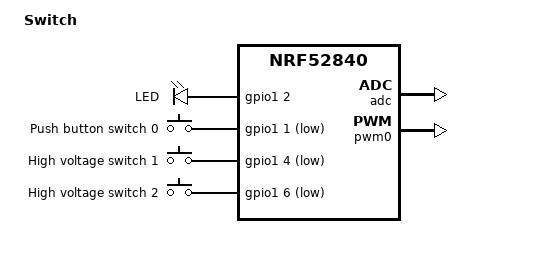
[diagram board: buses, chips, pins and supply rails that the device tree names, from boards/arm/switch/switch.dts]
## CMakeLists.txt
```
# Find Zephyr. This also loads Zephyr's build system.
cmake_minimum_required(VERSION 3.13.1)

set(CONF_FILE "prj.conf")
list(APPEND CONF_FILE "../config/openthread.conf")
list(APPEND CONF_FILE "../config/coap.conf")
list(APPEND CONF_FILE "../config/fota.conf")
list(APPEND CONF_FILE "../config/dfu.conf")

list(APPEND BOARD_ROOT ${CMAKE_CURRENT_SOURCE_DIR})
find_package(Zephyr REQUIRED HINTS $ENV{ZEPHYR_BASE})
project(switch)

# Add your source file to the "app" target. This must come after
# find_package(Zephyr) which defines the target.
target_sources(app PRIVATE src/coap.c)
#target_sources(app PRIVATE src/coap_req.c)
target_sources(app PRIVATE src/duart.c)
target_sources(app PRIVATE src/ds21.c)
target_sources(app PRIVATE src/led.c)
target_sources(app PRIVATE src/main.c)
target_sources(app PRIVATE src/prov.c)

# TODO: Replace with library target
target_include_directories(app PRIVATE ../lib)
target_sources(app PRIVATE ../lib/cbor_utils.c)
target_sources(app PRIVATE ../lib/coap_fota.c)
target_sources(app PRIVATE ../lib/coap_sd.c)
target_sources(app PRIVATE ../lib/coap_server.c)

if(COAPS_PSK)
    target_compile_definitions(app PRIVATE
        -DCOAPS_PSK=${COAPS_PSK}
        )
endif()
```

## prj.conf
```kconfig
CONFIG_NEWLIB_LIBC=y

CONFIG_MAIN_STACK_SIZE=2048
CONFIG_HEAP_MEM_POOL_SIZE=2048

CONFIG_GPIO_AS_PINRESET=n
CONFIG_NFCT_PINS_AS_GPIOS=y
CONFIG_FLASH=y

CONFIG_SERIAL=y

CONFIG_MCUBOOT_IMAGE_VERSION="0.1.2+0"

CONFIG_RESET_ON_FATAL_ERROR=n
#CONFIG_DEBUG_THREAD_INFO=y
#CONFIG_THREAD_MONITOR=y
```

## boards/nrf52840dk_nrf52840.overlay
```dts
/*
 * Copyright (c) 2022 Hubert Miś
 *
 * SPDX-License-Identifier: Apache-2.0
 */

/ {
	chosen {
		hubertmis,accnt-uart = &uart1;
	};
};
```

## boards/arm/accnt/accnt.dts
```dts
/*
 * Copyright (c) 2022 Hubert Miś
 *
 * SPDX-License-Identifier: Apache-2.0
 */

/dts-v1/;
#include <nordic/nrf52840_qiaa.dtsi>

/ {
	model = "Switch";
	compatible = "hubertmis,switch";

	chosen {
		hubertmis,accnt-uart = &uart0;
		zephyr,sram = &sram0;
		zephyr,flash = &flash0;
		zephyr,code-partition = &slot0_partition;
	};

    leds {
        compatible = "gpio-leds";
        led0: led_0 {
            gpios = <&gpio1 13 GPIO_ACTIVE_HIGH>;
            label = "Green LED";
        };
        led1: led_1 {
            gpios = <&gpio1 15 GPIO_ACTIVE_HIGH>;
            label = "Red LED";
        };
    };

    /*
    * In some default configurations within the nRF Connect SDK,
    * e.g. on nRF52840, the chosen zephyr,entropy node is &cryptocell.
    * This devicetree overlay ensures that default is overridden wherever it
    * is set, as this application uses the RNG node for entropy exclusively.
    */
    chosen {
        zephyr,entropy = &rng;
    };

    /* These aliases are provided for compatibility with samples */
};

&adc {
	status = "okay";
};

&gpiote {
	status = "okay";
};

&gpio0 {
	status = "okay";
};

&gpio1 {
	status = "okay";
};

&uart0 {
	compatible = "nordic,nrf-uarte";
	status = "okay";
	current-speed = <2400>;
	rx-pin = <41>;
	rx-pull-up;
	tx-pin = <7>;
};

&flash0 {

	partitions {
		compatible = "fixed-partitions";
		#address-cells = <1>;
		#size-cells = <1>;

		boot_partition: partition@0 {
			label = "mcuboot";
			reg = <0x000000000 0x0000C000>;
		};
		slot0_partition: partition@c000 {
			label = "image-0";
			reg = <0x0000C000 0x00067000>;
		};
		slot1_partition: partition@73000 {
			label = "image-1";
			reg = <0x00073000 0x00067000>;
		};
		scratch_partition: partition@da000 {
			label = "image-scratch";
			reg = <0x000da000 0x0001e000>;
		};

		/*
		 * The flash starting at 0x000f8000 and ending at
		 * 0x000fffff is reserved for use by the application.
		 */

		/*
		 * Storage partition will be used by FCB/LittleFS/NVS
		 * if enabled.
		 */
		storage_partition: partition@f8000 {
			label = "storage";
			reg = <0x000f8000 0x00008000>;
		};
	};
};
```

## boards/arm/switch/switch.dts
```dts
/*
 * Copyright (c) 2022 Hubert Miś
 *
 * SPDX-License-Identifier: Apache-2.0
 */

/dts-v1/;
#include <nordic/nrf52840_qiaa.dtsi>

/ {
	model = "Switch";
	compatible = "hubertmis,switch";

	chosen {
		zephyr,sram = &sram0;
		zephyr,flash = &flash0;
		zephyr,code-partition = &slot0_partition;
	};

    leds {
        compatible = "gpio-leds";
        led: led_0 {
            gpios = <&gpio1 2 GPIO_ACTIVE_HIGH>;
            label = "LED";
        };
    };

    buttons {
        compatible = "gpio-keys";
        button0: button_0 {
            gpios = <&gpio1 1 (GPIO_PULL_UP | GPIO_ACTIVE_LOW)>;
            label = "Push button switch 0";
        };
        sw1: button_1 {
            gpios = <&gpio1 4 (GPIO_ACTIVE_LOW)>;
            label = "High voltage switch 1";
        };
        sw2: button_2 {
            gpios = <&gpio1 6 (GPIO_ACTIVE_LOW)>;
            label = "High voltage switch 2";
        };
    };

    /*
    * In some default configurations within the nRF Connect SDK,
    * e.g. on nRF52840, the chosen zephyr,entropy node is &cryptocell.
    * This devicetree overlay ensures that default is overridden wherever it
    * is set, as this application uses the RNG node for entropy exclusively.
    */
    chosen {
        zephyr,entropy = &rng;
    };

    /* These aliases are provided for compatibility with samples */
/*
    aliases {
        red-pwm-led = &red_pwm_led;
        green-pwm-led = &green_pwm_led;
        blue-pwm-led = &blue_pwm_led;
        white-pwm-led = &white_pwm_led;
    };
*/
};

&adc {
	status = "okay";
};

&gpiote {
	status = "okay";
};

&gpio0 {
	status = "okay";
};

&gpio1 {
	status = "okay";
};

&pwm0 {
    status = "okay";
    ch0-pin = <18>;
    ch0-inverted;
    ch1-pin = <19>;
    ch1-inverted;
    ch2-pin = <21>;
    ch2-inverted;
    ch3-pin = <23>;
    ch3-inverted;
};

&flash0 {

	partitions {
		compatible = "fixed-partitions";
		#address-cells = <1>;
		#size-cells = <1>;

		boot_partition: partition@0 {
			label = "mcuboot";
			reg = <0x000000000 0x0000C000>;
		};
		slot0_partition: partition@c000 {
			label = "image-0";
			reg = <0x0000C000 0x00067000>;
		};
		slot1_partition: partition@73000 {
			label = "image-1";
			reg = <0x00073000 0x00067000>;
		};
		scratch_partition: partition@da000 {
			label = "image-scratch";
			reg = <0x000da000 0x0001e000>;
		};

		/*
		 * The flash starting at 0x000f8000 and ending at
		 * 0x000fffff is reserved for use by the application.
		 */

		/*
		 * Storage partition will be used by FCB/LittleFS/NVS
		 * if enabled.
		 */
		storage_partition: partition@f8000 {
			label = "storage";
			reg = <0x000f8000 0x00008000>;
		};
	};
};
```

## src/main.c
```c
/*
 * Copyright (c) 2022 Hubert Miś
 *
 * SPDX-License-Identifier: Apache-2.0
 */

#include <assert.h>

#include "ds21.h"
#include "coap.h"
#include "prov.h"

#include <dfu/mcuboot.h>
#include <net/fota_download.h>
#include <net/openthread.h>
#include <openthread/thread.h>
#include <power/reboot.h>
#include <settings/settings.h>

#define TX_POWER 8

// Fota
void fota_callback(const struct fota_download_evt *evt)
{
    if (evt->id == FOTA_DOWNLOAD_EVT_FINISHED) {
        sys_reboot(SYS_REBOOT_COLD);
    }
}

// Main
void main(void)
{
	prov_init();

	settings_subsys_init();
	settings_register(prov_get_settings_handler());
	settings_load();

	otError error;
	struct otInstance *ot_instance = openthread_get_default_instance();

	error = otPlatRadioSetTransmitPower(ot_instance, TX_POWER);
	assert(error == OT_ERROR_NONE);

	struct otIp6Address site_local_all_nodes_addr = {.mFields = {.m8 =
			{0xff, 0x05, 0x00, 0x00, 0x00, 0x00, 0x00, 0x00,
			 0x00, 0x00, 0x00, 0x00, 0x00, 0x00, 0x00, 0x01} }};

	error = otIp6SubscribeMulticastAddress(ot_instance, &site_local_all_nodes_addr);
	assert(error == OT_ERROR_NONE);

	fota_download_init(fota_callback);
	coap_init();

	boot_write_img_confirmed();

	ds21_init();
}
```

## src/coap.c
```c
/*
 * Copyright (c) 2022 Hubert Miś
 *
 * SPDX-License-Identifier: Apache-2.0
 */

#include "coap.h"

#include <cbor_utils.h>
#include <coap_fota.h>
#include <coap_sd.h>
#include <coap_server.h>
#include "ds21.h"
#include "duart.h"
#include "prov.h"

#include <net/socket.h>
#include <net/coap.h>
#include <tinycbor/cbor.h>
#include <tinycbor/cbor_buf_reader.h>
#include <tinycbor/cbor_buf_writer.h>

#define MAX_COAP_MSG_LEN 256
#define MAX_COAP_PAYLOAD_LEN 64

#define RSRC_KEY "r"

static int handle_prov_post(CborValue *value,
	       	enum coap_response_code *rsp_code, void *context)
{
    (void)context;

    int r;
    bool updated = false;

    char str[PROV_LBL_MAX_LEN];

    // Handle rsrc
    r = cbor_extract_from_map_string(value, RSRC_KEY, str, sizeof(str));
    if ((r >= 0) && (r < PROV_LBL_MAX_LEN)) {
        r = prov_set_rsrc_label(str);

        if (r == 0) {
            updated = true;
        }
    }

    if (updated) {
        *rsp_code = COAP_RESPONSE_CODE_CHANGED;
        prov_store();
    } else {
        *rsp_code = COAP_RESPONSE_CODE_BAD_REQUEST;
    }

    return r;
}

static int prov_post(struct coap_resource *resource,
        struct coap_packet *request,
        struct sockaddr *addr, socklen_t addr_len)
{
    int sock = *(int*)resource->user_data;

    return coap_server_handle_simple_setter(sock, resource, request, addr, addr_len,
		    handle_prov_post, NULL);
}

static int prepare_prov_payload(uint8_t *payload, size_t len)
{
    struct cbor_buf_writer writer;
    CborEncoder ce;
    CborEncoder map;
    const char *label;

    cbor_buf_writer_init(&writer, payload, len);
    cbor_encoder_init(&ce, &writer.enc, 0);

    if (cbor_encoder_create_map(&ce, &map, 1) != CborNoError) return -EINVAL;

    label = prov_get_rsrc_label();
    if (cbor_encode_text_string(&map, RSRC_KEY, strlen(RSRC_KEY)) != CborNoError) return -EINVAL;
    if (cbor_encode_text_string(&map, label, strlen(label)) != CborNoError) return -EINVAL;

    if (cbor_encoder_close_container(&ce, &map) != CborNoError) return -EINVAL;

    return (size_t)(writer.ptr - payload);
}

static int prov_get(struct coap_resource *resource,
        struct coap_packet *request,
        struct sockaddr *addr, socklen_t addr_len)
{
    int sock = *(int*)resource->user_data;
    int r = 0;
    uint8_t payload[MAX_COAP_PAYLOAD_LEN];
    size_t payload_len;

    r = prepare_prov_payload(payload, sizeof(payload));
    if (r < 0) {
        return r;
    }
    payload_len = r;

    return coap_server_handle_simple_getter(sock, resource, request, addr, addr_len,
                    payload, payload_len);
}

#define TAG_DECIMAL_FRACTION 4

#define RSP_EXP_KEY "ersp"
#define BIN_KEY "bin"
#define READY_KEY "r"
#define ONOFF_KEY "o"
#define MODE_KEY "m"
#define TEMP_KEY "t"
#define FAN_KEY "f"

#define MODE_DISABLED_VAL '0'
#define MODE_AUTO_VAL 'a'
#define MODE_DRY_VAL 'd'
#define MODE_COOL_VAL 'c'
#define MODE_HEAT_VAL 'h'
#define MODE_FAN_VAL 'f'

#define FAN_AUTO_VAL 'a'
#define FAN_1_VAL '1'
#define FAN_2_VAL '2'
#define FAN_3_VAL '3'
#define FAN_4_VAL '4'
#define FAN_5_VAL '5'

#define TEMP_INT_KEY "i"
#define TEMP_EXT_KEY "e"

static int prepare_default_payload(uint8_t *payload, size_t len)
{
    struct cbor_buf_writer writer;
    CborEncoder ce;
    CborEncoder map;
    struct ds21_basic_state state;
    int ret;
    char mode;
    char fan;

    ret = ds21_get_basic_state(&state);
    if (ret < 0) return ret;

    switch (state.mode) {
	    case DS21_MODE_DISABLED:
		    mode = MODE_DISABLED_VAL;
		    break;

	    case DS21_MODE_AUTO:
		    mode = MODE_AUTO_VAL;
		    break;

	    case DS21_MODE_DRY:
		    mode = MODE_DRY_VAL;
		    break;

	    case DS21_MODE_COOL:
		    mode = MODE_COOL_VAL;
		    break;

	    case DS21_MODE_HEAT:
		    mode = MODE_HEAT_VAL;
		    break;

	    case DS21_MODE_FAN:
		    mode = MODE_FAN_VAL;
		    break;

	    default:
		    return -EIO;
    }

    switch (state.fan) {
	    case DS21_FAN_AUTO:
		    fan = FAN_AUTO_VAL;
		    break;

	    case DS21_FAN_1:
		    fan = FAN_1_VAL;
		    break;

	    case DS21_FAN_2:
		    fan = FAN_2_VAL;
		    break;

	    case DS21_FAN_3:
		    fan = FAN_3_VAL;
		    break;

	    case DS21_FAN_4:
		    fan = FAN_4_VAL;
		    break;

	    case DS21_FAN_5:
		    fan = FAN_5_VAL;
		    break;

            default:
		    return -EIO;
    }

    cbor_buf_writer_init(&writer, payload, len);
    cbor_encoder_init(&ce, &writer.enc, 0);

    if (cbor_encoder_create_map(&ce, &map, 4) != CborNoError) return -EINVAL;

    if (cbor_encode_text_string(&map, ONOFF_KEY, strlen(ONOFF_KEY)) != CborNoError) return -EINVAL;
    if (cbor_encode_boolean(&map, state.enabled) != CborNoError) return -EINVAL;

    if (cbor_encode_text_string(&map, MODE_KEY, strlen(MODE_KEY)) != CborNoError) return -EINVAL;
    if (cbor_encode_int(&map, mode) != CborNoError) return -EINVAL;

    if (cbor_encode_text_string(&map, TEMP_KEY, strlen(TEMP_KEY)) != CborNoError) return -EINVAL;
    if (cbor_encode_dec_frac_num(&map, -1, state.target_temp) != CborNoError) return -EINVAL;

    if (cbor_encode_text_string(&map, FAN_KEY, strlen(FAN_KEY)) != CborNoError) return -EINVAL;
    if (cbor_encode_int(&map, fan) != CborNoError) return -EINVAL;

    if (cbor_encoder_close_container(&ce, &map) != CborNoError) return -EINVAL;

    return (size_t)(writer.ptr - payload);
}

static int prepare_bytestream_payload(uint8_t *payload, size_t len)
{
    struct cbor_buf_writer writer;
    CborEncoder ce;
    CborEncoder map;
    uint8_t rsp[DUART_MAX_FRAME_LEN];
    size_t rsp_len;
    int ret;

    ret = duart_rx(rsp);
    if (ret < 0) return ret;
    rsp_len = ret;

    cbor_buf_writer_init(&writer, payload, len);
    cbor_encoder_init(&ce, &writer.enc, 0);

    if (cbor_encoder_create_map(&ce, &map, 1) != CborNoError) return -EINVAL;

    if (cbor_encode_text_string(&map, BIN_KEY, strlen(BIN_KEY)) != CborNoError) return -EINVAL;
    if (cbor_encode_byte_string(&map, rsp, rsp_len) != CborNoError) return -EINVAL;

    if (cbor_encoder_close_container(&ce, &map) != CborNoError) return -EINVAL;

    return (size_t)(writer.ptr - payload);
}

static int prepare_bool_payload(uint8_t *payload, size_t len, char *key, size_t key_len, bool value)
{
    struct cbor_buf_writer writer;
    CborEncoder ce;
    CborEncoder map;

    cbor_buf_writer_init(&writer, payload, len);
    cbor_encoder_init(&ce, &writer.enc, 0);

    if (cbor_encoder_create_map(&ce, &map, 1) != CborNoError) return -EINVAL;

    if (cbor_encode_text_string(&map, key, key_len) != CborNoError) return -EINVAL;
    if (cbor_encode_boolean(&map, value) != CborNoError) return -EINVAL;

    if (cbor_encoder_close_container(&ce, &map) != CborNoError) return -EINVAL;

    return (size_t)(writer.ptr - payload);
}

// TODO: Refactor after creating generic getter capable of parsing payload
static int rsrc_get(struct coap_resource *resource,
             struct coap_packet *request,
             struct sockaddr *addr, socklen_t addr_len)
{
    int sock = *(int*)resource->user_data;
    uint16_t id;
    uint8_t code;
    uint8_t type;
    uint8_t tkl;
    uint8_t token[COAP_TOKEN_MAX_LEN];
    uint8_t *data;
    int r = 0;
    struct coap_packet response;
    uint8_t payload[MAX_COAP_PAYLOAD_LEN];
    int16_t payload_len = 0;
    const uint8_t *req_payload;
    uint16_t req_payload_len;
    enum coap_response_code rsp_code = COAP_RESPONSE_CODE_INTERNAL_ERROR;

    code = coap_header_get_code(request);
    type = coap_header_get_type(request);
    id = coap_header_get_id(request);
    tkl = coap_header_get_token(request, token);

    if (type != COAP_TYPE_CON) {
        return -EINVAL;
    }

#if BLOCK_GLOBAL_ACCESS
    if (!addr_is_local(addr, addr_len) && !sock_is_secure(sock)) {
        // TODO: Send ACK Forbidden?
        return -EINVAL;
    }
#endif

    req_payload = coap_packet_get_payload(request, &req_payload_len);
    if (req_payload) {
	    struct coap_option option;
	    r = coap_find_options(request, COAP_OPTION_CONTENT_FORMAT, &option, 1); 
	    if (r != 1) {
		coap_server_send_ack(sock, addr, addr_len, id, COAP_RESPONSE_CODE_BAD_REQUEST, token, tkl);
		return -EINVAL;
	    }

	    if (coap_option_value_to_int(&option) != COAP_CONTENT_FORMAT_APP_CBOR) {
		coap_server_send_ack(sock, addr, addr_len, id, COAP_RESPONSE_CODE_UNSUPPORTED_CONTENT_FORMAT, token, tkl);
		return -EINVAL;
	    }

	    CborError cbor_error;
	    CborParser parser;
	    CborValue value;
	    struct cbor_buf_reader reader;
	    uint8_t req[DUART_MAX_FRAME_LEN];
	    size_t req_len = sizeof(req);

	    cbor_buf_reader_init(&reader, req_payload, req_payload_len);

	    cbor_error = cbor_parser_init(&reader.r, 0, &parser, &value);
	    if (cbor_error != CborNoError) {
		coap_server_send_ack(sock, addr, addr_len, id, COAP_RESPONSE_CODE_BAD_REQUEST, token, tkl);
		return -EINVAL;
	    }

	    if (!cbor_value_is_map(&value)) {
		coap_server_send_ack(sock, addr, addr_len, id, COAP_RESPONSE_CODE_BAD_REQUEST, token, tkl);
		return -EINVAL;
	    }

	    CborValue map_val;

	    // Handle binary command
	    cbor_error = cbor_value_map_find_value(&value, BIN_KEY, &map_val);
	    if ((cbor_error == CborNoError) && cbor_value_is_byte_string(&map_val)) {
		cbor_error = cbor_value_copy_byte_string(&map_val, req, &req_len, NULL);
		if (cbor_error == CborNoError) {
		    r = duart_tx(req, req_len);
		    if (r < 0) {
			coap_server_send_ack(sock, addr, addr_len, id, COAP_RESPONSE_CODE_INTERNAL_ERROR, token, tkl);
			return -EINVAL;
		    }

		    r = prepare_bytestream_payload(payload, sizeof(payload));
		    if (r < 0) {
			coap_server_send_ack(sock, addr, addr_len, id, COAP_RESPONSE_CODE_INTERNAL_ERROR, token, tkl);
			return -EINVAL;
		    }

		    payload_len = r;
		}
	    }

	    // Handle readiness checker
	    if (!payload_len) {
	        cbor_error = cbor_value_map_find_value(&value, READY_KEY, &map_val);
	        if ((cbor_error == CborNoError) && cbor_value_is_boolean(&map_val)) {
		    bool result = false;
	            cbor_error = cbor_value_get_boolean(&map_val, &result);
	            if ((cbor_error == CborNoError) && result) {
			result = ds21_is_ready();

	                r = prepare_bool_payload(payload, sizeof(payload), READY_KEY, sizeof(READY_KEY), result);
	                if (r < 0) {
	                    coap_server_send_ack(sock, addr, addr_len, id, COAP_RESPONSE_CODE_INTERNAL_ERROR, token, tkl);
	                    return -EINVAL;
	                }

	                payload_len = r;
	            }
	        }
            }
    } else {
	    payload_len = prepare_default_payload(payload, sizeof(payload));
    }

    data = (uint8_t *)k_malloc(MAX_COAP_MSG_LEN);
    if (!data) {
        return -ENOMEM;
    }

    if (payload_len >= 0) {
	    rsp_code = COAP_RESPONSE_CODE_CONTENT;
    }

    r = coap_packet_init(&response, data, MAX_COAP_MSG_LEN,
                 1, COAP_TYPE_ACK, tkl, token,
                 rsp_code, id);
    if (r < 0) {
        goto end;
    }

    if (payload_len > 0) {
	    r = coap_append_option_int(&response, COAP_OPTION_CONTENT_FORMAT,
		    COAP_CONTENT_FORMAT_APP_CBOR);
	    if (r < 0) {
		goto end;
	    }

	    r = coap_packet_append_payload_marker(&response);
	    if (r < 0) {
		goto end;
	    }

	    r = coap_packet_append_payload(&response, payload, payload_len);
	    if (r < 0) {
		goto end;
	    }
    }

    r = coap_server_send_coap_reply(sock, &response, addr, addr_len);

end:
    k_free(data);

    return r;
}

// TODO: refactor after providing generic setter which can respond with ACK including payload
static int rsrc_post(struct coap_resource *resource,
        struct coap_packet *request,
        struct sockaddr *addr, socklen_t addr_len)
{
    int sock = *(int*)resource->user_data;
    uint16_t id;
    uint8_t code;
    uint8_t type;
    uint8_t tkl;
    uint8_t token[COAP_TOKEN_MAX_LEN];
    int ret = 0;
    struct coap_option option;
    const uint8_t *payload;
    uint16_t payload_len;
    enum coap_response_code rsp_code = COAP_RESPONSE_CODE_BAD_REQUEST;

    code = coap_header_get_code(request);
    type = coap_header_get_type(request);
    id = coap_header_get_id(request);
    tkl = coap_header_get_token(request, token);

    if (type != COAP_TYPE_CON) {
        return -EINVAL;
    }

#if BLOCK_GLOBAL_ACCESS
    if (!addr_is_local(addr, addr_len) && !sock_is_secure(sock)) {
        // TODO: Send ACK Forbidden?
        return -EINVAL;
    }
#endif

    ret = coap_find_options(request, COAP_OPTION_CONTENT_FORMAT, &option, 1); 
    if (ret != 1) {
        coap_server_send_ack(sock, addr, addr_len, id, COAP_RESPONSE_CODE_BAD_REQUEST, token, tkl);
        return -EINVAL;
    }

    if (coap_option_value_to_int(&option) != COAP_CONTENT_FORMAT_APP_CBOR) {
        coap_server_send_ack(sock, addr, addr_len, id, COAP_RESPONSE_CODE_UNSUPPORTED_CONTENT_FORMAT, token, tkl);
        return -EINVAL;
    }

    payload = coap_packet_get_payload(request, &payload_len);
    if (!payload) {
        coap_server_send_ack(sock, addr, addr_len, id, COAP_RESPONSE_CODE_BAD_REQUEST, token, tkl);
        return -EINVAL;
    }

    CborError cbor_error;
    CborParser parser;
    CborValue value;
    struct cbor_buf_reader reader;
    uint8_t req[DUART_MAX_FRAME_LEN];
    size_t req_len = sizeof(req);
    bool expect_rsp = false;
    uint8_t rsp_payload[MAX_COAP_PAYLOAD_LEN];
    size_t rsp_payload_len;

    cbor_buf_reader_init(&reader, payload, payload_len);

    cbor_error = cbor_parser_init(&reader.r, 0, &parser, &value);
    if (cbor_error != CborNoError) {
        coap_server_send_ack(sock, addr, addr_len, id, COAP_RESPONSE_CODE_BAD_REQUEST, token, tkl);
        return -EINVAL;
    }

    if (!cbor_value_is_map(&value)) {
        coap_server_send_ack(sock, addr, addr_len, id, COAP_RESPONSE_CODE_BAD_REQUEST, token, tkl);
        return -EINVAL;
    }

    CborValue map_val;

    // Handle response expectation
    cbor_error = cbor_value_map_find_value(&value, RSP_EXP_KEY, &map_val);
    if ((cbor_error == CborNoError) && cbor_value_is_boolean(&map_val)) {
        cbor_value_get_boolean(&map_val, &expect_rsp);
    }

    // Handle binary command
    cbor_error = cbor_value_map_find_value(&value, BIN_KEY, &map_val);
    if ((cbor_error == CborNoError) && cbor_value_is_valid(&map_val)) {
        if (cbor_value_is_byte_string(&map_val)) {
            cbor_error = cbor_value_copy_byte_string(&map_val, req, &req_len, NULL);
	    if (cbor_error == CborNoError) {
	        ret = duart_tx(req, req_len);
	        if (ret < 0) {
                    rsp_code = COAP_RESPONSE_CODE_INTERNAL_ERROR;
                    goto end;
	        }

                rsp_code = COAP_RESPONSE_CODE_CHANGED;;

	        if (expect_rsp) {
                    ret = prepare_bytestream_payload(rsp_payload, sizeof(rsp_payload));
	            if (ret < 0) {
                        expect_rsp = false;
                        rsp_code = COAP_RESPONSE_CODE_INTERNAL_ERROR;
                        goto end;
	            }

                    rsp_payload_len = ret;
                    rsp_code = COAP_RESPONSE_CODE_CHANGED;
                    return coap_server_send_ack_with_payload(sock, addr, addr_len, id, rsp_code, token, tkl, rsp_payload, rsp_payload_len);
                }
	    }
        }

	goto end;
    }

    // Handle basic state
    struct ds21_basic_state state;
    bool ds21_basic_state_updated = false;

    // On/off
    cbor_error = cbor_value_map_find_value(&value, ONOFF_KEY, &map_val);
    if ((cbor_error == CborNoError) && cbor_value_is_boolean(&map_val)) {
        if (!ds21_basic_state_updated) {
            ret = ds21_get_basic_state(&state);
            if (ret < 0) {
                rsp_code = COAP_RESPONSE_CODE_INTERNAL_ERROR;
                goto end;
            }
        }

        cbor_error = cbor_value_get_boolean(&map_val, &state.enabled);
        if (cbor_error == CborNoError) {
            ds21_basic_state_updated = true;
        } else {
            rsp_code = COAP_RESPONSE_CODE_BAD_REQUEST;
	    goto end;
	}
    }

    // Mode
    cbor_error = cbor_value_map_find_value(&value, MODE_KEY, &map_val);
    if ((cbor_error == CborNoError) && cbor_value_is_unsigned_integer(&map_val)) {
        uint64_t val;
        if (!ds21_basic_state_updated) {
            ret = ds21_get_basic_state(&state);
            if (ret < 0) {
                rsp_code = COAP_RESPONSE_CODE_INTERNAL_ERROR;
                goto end;
            }
        }

        cbor_error = cbor_value_get_uint64(&map_val, &val);
        if (cbor_error == CborNoError) {
            switch (val) {
                case MODE_DISABLED_VAL:
                    state.mode= DS21_MODE_DISABLED;
                    break;

                case MODE_AUTO_VAL:
                    state.mode = DS21_MODE_AUTO;
                    break;

                case MODE_DRY_VAL:
                    state.mode = DS21_MODE_DRY;
                    break;

                case MODE_COOL_VAL:
                    state.mode = DS21_MODE_COOL;
                    break;

                case MODE_HEAT_VAL:
                    state.mode = DS21_MODE_HEAT;
                    break;

                case MODE_FAN_VAL:
                    state.mode = DS21_MODE_FAN;
                    break;

                default:
                    rsp_code = COAP_RESPONSE_CODE_BAD_REQUEST;
                    goto end;
            }

            ds21_basic_state_updated = true;
        }
    }

    // Target temperature
    cbor_error = cbor_value_map_find_value(&value, TEMP_KEY, &map_val);
    if ((cbor_error == CborNoError) && cbor_value_is_valid(&map_val)) {
        int int_val;
        if (!ds21_basic_state_updated) {
            ret = ds21_get_basic_state(&state);
            if (ret < 0) {
                rsp_code = COAP_RESPONSE_CODE_INTERNAL_ERROR;
                goto end;
            }
        }

	ret = cbor_decode_dec_frac_num(&map_val, -1, &int_val);
        if (ret < 0) {
            rsp_code = COAP_RESPONSE_CODE_BAD_REQUEST;
            goto end;
        }

	state.target_temp = int_val;

        ds21_basic_state_updated = true;
    }

    // Fan
    cbor_error = cbor_value_map_find_value(&value, FAN_KEY, &map_val);
    if ((cbor_error == CborNoError) && cbor_value_is_unsigned_integer(&map_val)) {
        uint64_t val;
        if (!ds21_basic_state_updated) {
            ret = ds21_get_basic_state(&state);
            if (ret < 0) {
                rsp_code = COAP_RESPONSE_CODE_INTERNAL_ERROR;
                goto end;
            }
        }

        cbor_error = cbor_value_get_uint64(&map_val, &val);
        if (cbor_error == CborNoError) {
            switch (val) {
                case FAN_AUTO_VAL:
                    state.fan = DS21_FAN_AUTO;
                    break;

                case FAN_1_VAL:
                    state.fan = DS21_FAN_1;
                    break;

                case FAN_2_VAL:
                    state.fan = DS21_FAN_2;
                    break;

                case FAN_3_VAL:
                    state.fan = DS21_FAN_3;
                    break;

                case FAN_4_VAL:
                    state.fan = DS21_FAN_4;
                    break;

                case FAN_5_VAL:
                    state.fan = DS21_FAN_5;
                    break;

                default:
                    rsp_code = COAP_RESPONSE_CODE_BAD_REQUEST;
                    goto end;
            }

            ds21_basic_state_updated = true;
        }
    }

    if (ds21_basic_state_updated) {
        ret = ds21_set_basic_state(&state);
        rsp_code = (ret < 0) ? COAP_RESPONSE_CODE_INTERNAL_ERROR : COAP_RESPONSE_CODE_CHANGED;
    }

end:
    ret = coap_server_send_ack(sock, addr, addr_len, id, rsp_code, token, tkl);
    return ret;
}

static int prepare_temp_payload(uint8_t *payload, size_t len)
{
    struct cbor_buf_writer writer;
    CborEncoder ce;
    CborEncoder map;
    struct ds21_temperature temp;
    int ret;

    ret = ds21_get_temperature(&temp);
    if (ret < 0) return ret;

    cbor_buf_writer_init(&writer, payload, len);
    cbor_encoder_init(&ce, &writer.enc, 0);

    if (cbor_encoder_create_map(&ce, &map, 2) != CborNoError) return -EINVAL;

    if (cbor_encode_text_string(&map, TEMP_INT_KEY, strlen(TEMP_INT_KEY)) != CborNoError) return -EINVAL;
    if (cbor_encode_dec_frac_num(&map, -1, temp.internal) != CborNoError) return -EINVAL;

    if (cbor_encode_text_string(&map, TEMP_EXT_KEY, strlen(TEMP_EXT_KEY)) != CborNoError) return -EINVAL;
    if (cbor_encode_dec_frac_num(&map, -1, temp.external) != CborNoError) return -EINVAL;

    if (cbor_encoder_close_container(&ce, &map) != CborNoError) return -EINVAL;

    return (size_t)(writer.ptr - payload);
}

static int temp_get(struct coap_resource *resource,
             struct coap_packet *request,
             struct sockaddr *addr, socklen_t addr_len)
{
    int sock = *(int*)resource->user_data;
    int r = 0;
    uint8_t payload[MAX_COAP_PAYLOAD_LEN];
    int16_t payload_len = 0;

    r = prepare_temp_payload(payload, sizeof(payload));
    if (r < 0) {
        return r;
    }
    payload_len = r;

    return coap_server_handle_simple_getter(sock, resource, request, addr, addr_len, payload, payload_len);
}

#define TEMP_PATH "temp"

static struct coap_resource * rsrcs_get(int sock)
{
    static const char * const fota_path [] = {"fota_req", NULL};
    static const char * const sd_path [] = {"sd", NULL};
    static const char * const prov_path[] = {"prov", NULL};
    static const char * rsrc_path[] = {NULL, NULL};
    static const char * rsrc_temp_path[] = {NULL, TEMP_PATH, NULL};

    static struct coap_resource resources[] = {
        { .get = coap_fota_get,
          .post = coap_fota_post,
          .path = fota_path,
        },
        { .get = coap_sd_server,
          .path = sd_path,
        },
	{ .get = prov_get,
	  .post = prov_post,
	  .path = prov_path,
	},
	{ .get = rsrc_get,
	  .post = rsrc_post,
          .path = rsrc_path,
	},
	{ .get = temp_get,
	  .path = rsrc_temp_path,
	},
        { .path = NULL } // Array terminator
    };

    rsrc_path[0] = prov_get_rsrc_label();
    rsrc_temp_path[0] = rsrc_path[0];

    if (!rsrc_path[0] || !strlen(rsrc_path[0])) {
	    resources[3].path = NULL;
	    resources[4].path = NULL;
    } else {
	    resources[3].path = rsrc_path;
	    resources[4].path = rsrc_temp_path;
    }

    // TODO: Replace it with something better
    static int user_data;
   
    user_data = sock;

    for (int i = 0; i < ARRAY_SIZE(resources); ++i) {
        resources[i].user_data = &user_data;
    }

    return resources;
}

void coap_init(void)
{
    coap_server_init(rsrcs_get);
}
```

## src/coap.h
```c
/*
 * Copyright (c) 2022 Hubert Miś
 *
 * SPDX-License-Identifier: Apache-2.0
 */

/**
 * @file
 * @brief CoAP Server
 */
    
#ifndef COAP_H_
#define COAP_H_

#ifdef __cplusplus
extern "C" {
#endif

void coap_init(void);

#ifdef __cplusplus
}   
#endif

#endif // COAP_H_
```

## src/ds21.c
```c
/*
 * Copyright (c) 2022 Hubert Miś
 *
 * SPDX-License-Identifier: Apache-2.0
 */

#include "ds21.h"

#include <errno.h>
#include "duart.h"
#include "led.h"

#define GETTER_REQ_FRAME_LEN 2
#define INIT_FRAME_LEN 3
#define BASIC_STATE_FRAME_LEN 6
#define TEMPERATURE_FRAME_LEN 6

static bool ready;

static uint8_t dc_to_f(int16_t dc)
{
	return (dc + 3) / 5 + 28;
}

static int16_t f_to_dc(uint8_t f)
{
	return ((int16_t)f - 28) * 5;
}

void ds21_init(void)
{
	int ret;

	duart_init();

	do {
		const unsigned char cmd[INIT_FRAME_LEN] = {'D', '2', '0'};
		ret = duart_tx(cmd, sizeof(cmd));
		if (ret < 0) led_failure();
	} while (ret < 0);

	led_success();
	ready = true;
}

bool ds21_is_ready(void)
{
	return ready;
}

int ds21_get_basic_state(struct ds21_basic_state *state)
{
	unsigned char req[GETTER_REQ_FRAME_LEN] = {'F', '1'};
	unsigned char rsp[DUART_MAX_FRAME_LEN];
	int ret = 0;

	if (!ready) {
		ret = -ENODEV;
		goto fail;
	}

	ret = duart_tx(req, sizeof(req));
	if (ret < 0) goto fail;

	ret = duart_rx(rsp);
	if (ret < 0) goto fail;

	if (ret != BASIC_STATE_FRAME_LEN) {
		ret = -EIO;
		goto fail;
	}
	ret = -EIO;
	if (rsp[0] != 'G') goto fail;
	if (rsp[1] != '1') goto fail;

	switch (rsp[2]) {
		case '0':
			state->enabled = false;
			break;

		case '1':
			state->enabled = true;
			break;

		default:
			goto fail;
	}

	state->mode = rsp[3];
	state->target_temp = f_to_dc(rsp[4]);
	state->fan = rsp[5];

	led_success();
	return 0;

fail:
	led_failure();
	return ret;
}

int ds21_set_basic_state(const struct ds21_basic_state *state)
{
	unsigned char frame[BASIC_STATE_FRAME_LEN] = {'D', '1'};
	int ret = -ENODEV;

	if (!ready) goto fail;

	frame[2] = state->enabled ? '1' : '0';
	frame[3] = state->mode;
	frame[4] = dc_to_f(state->target_temp);
	frame[5] = state->fan;

	ret = duart_tx(frame, sizeof(frame));
	if (ret < 0) goto fail;

	led_success();
	return ret;

fail:
	led_failure();
	return ret;
}

static int parse_temperature(int16_t *result, const unsigned char req[GETTER_REQ_FRAME_LEN], const unsigned char rsp[DUART_MAX_FRAME_LEN])
{
	int16_t value = 0;

	if (rsp[0] != req[0] + 1) return -EIO;
	if (rsp[1] != req[1]) return -EIO;

	if (rsp[2] < '0' || rsp[2] > '9') return -EIO;
	if (rsp[3] < '0' || rsp[3] > '9') return -EIO;
	if (rsp[4] < '0' || rsp[4] > '9') return -EIO;

	value = rsp[2] - '0';
	value += (rsp[3] - '0') * 10;
	value += (rsp[4] - '0') * 100;

	if (rsp[5] == '-') value *= -1;

	*result = value;
	return 0;
}

int ds21_get_temperature(struct ds21_temperature *temp)
{
	unsigned char req_int[GETTER_REQ_FRAME_LEN] = {'R', 'H'};
	unsigned char req_ext[GETTER_REQ_FRAME_LEN] = {'R', 'a'};
	unsigned char rsp[DUART_MAX_FRAME_LEN];
	int ret = 0;

	if (!ready) {
		ret = -ENODEV;
		goto fail;
	}

	// Internal temperature
	ret = duart_tx(req_int, sizeof(req_int));
	if (ret < 0) goto fail;

	ret = duart_rx(rsp);
	if (ret < 0) goto fail;

	if (ret != TEMPERATURE_FRAME_LEN) {
		ret = -EIO;
		goto fail;
	}

	ret = parse_temperature(&temp->internal, req_int, rsp);
	if (ret != 0) goto fail;

	led_success();

	// External temperature
	ret = duart_tx(req_ext, sizeof(req_ext));
	if (ret < 0) goto fail;

	ret = duart_rx(rsp);
	if (ret < 0) goto fail;

	if (ret != TEMPERATURE_FRAME_LEN) {
		ret = -EIO;
		goto fail;
	}

	ret = parse_temperature(&temp->external, req_ext, rsp);
	if (ret != 0) goto fail;

	led_success();
	return 0;

fail:
	led_failure();
	return ret;
}
```

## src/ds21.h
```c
/*
 * Copyright (c) 2022 Hubert Miś
 *
 * SPDX-License-Identifier: Apache-2.0
 */

/**
 * @file
 * @brief Daikin S21 commands enc/dec
 */
    
#ifndef DS21_H_
#define DS21_H_

#include <stdbool.h>
#include <stdint.h>

#ifdef __cplusplus
extern "C" {
#endif

enum ds21_mode {
	DS21_MODE_DISABLED = '0',
	DS21_MODE_AUTO     = '1',
	DS21_MODE_DRY      = '2',
	DS21_MODE_COOL     = '3',
	DS21_MODE_HEAT     = '4',
	DS21_MODE_FAN      = '6',
};

enum ds21_fan {
	DS21_FAN_AUTO = 'A',
	DS21_FAN_1    = '3',
	DS21_FAN_2    = '4',
	DS21_FAN_3    = '5',
	DS21_FAN_4    = '6',
	DS21_FAN_5    = '7',
};

struct ds21_basic_state {
	bool enabled;
	enum ds21_mode mode;
	int16_t target_temp; // deciCelsius
	enum ds21_fan fan;
};

struct ds21_temperature {
	int16_t internal;
	int16_t external;
};

void ds21_init(void);

bool ds21_is_ready(void);

int ds21_get_basic_state(struct ds21_basic_state *state);
int ds21_set_basic_state(const struct ds21_basic_state *state);

int ds21_get_temperature(struct ds21_temperature *temp);

#ifdef __cplusplus
}   
#endif

#endif // DS21_H_
```

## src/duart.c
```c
/*
 * Copyright (c) 2022 Hubert Miś
 *
 * SPDX-License-Identifier: Apache-2.0
 */

#include "duart.h"

#include <stdbool.h>
#include <string.h>

#include <drivers/uart.h>

#define MAX_FRAME_LEN DUART_MAX_FRAME_LEN
#define NUM_FRAMES 4

static const struct device *uart_dev;
static volatile unsigned int rx_err_cnt;
static volatile unsigned int too_long_frames_cnt;
static volatile unsigned int invalid_state_cnt;

struct frame_t {
	size_t data_len;
	unsigned char data[MAX_FRAME_LEN];
};

static struct frame_t frames[NUM_FRAMES];
static size_t w_idx;
static size_t r_idx;

enum state_t {
	STATE_IDLE,
	STATE_PAYLOAD,
	STATE_NEXT,
};
static enum state_t state;

K_SEM_DEFINE(rx_sem, 0, 1);

static bool queue_is_empty(void)
{
	return r_idx == w_idx;
}

static bool queue_is_full(void)
{
	return (NUM_FRAMES + r_idx - w_idx) % NUM_FRAMES == 1;
}

static size_t incr_idx(size_t idx)
{
	return (idx + 1) % NUM_FRAMES;
}

static int uart_tx_frame(const unsigned char *payload, size_t payload_len)
{
	unsigned char cs = 0;

	uart_poll_out(uart_dev, 0x02);

	for (size_t i = 0; i < payload_len; ++i) {
		cs += payload[i];
		uart_poll_out(uart_dev, payload[i]);
	}

	uart_poll_out(uart_dev, cs);
	uart_poll_out(uart_dev, 0x03);

	return payload_len;
}

static int uart_tx_ack(void)
{
	uart_poll_out(uart_dev, 0x06);
	return 0;
}

int rx(unsigned char payload[MAX_FRAME_LEN])
{
	while (queue_is_empty()) {
		int sem_ret = k_sem_take(&rx_sem, K_MSEC(100));

		if (sem_ret == -EAGAIN) return sem_ret;
	}
	
	struct frame_t *frame = frames + r_idx;
	size_t copy_size = frame->data_len <= MAX_FRAME_LEN ? frame->data_len : MAX_FRAME_LEN;

	memcpy(payload, frame->data, copy_size);
	r_idx = incr_idx(r_idx);
	return copy_size;
}

static enum state_t search_for_start(unsigned char byte, struct frame_t *frame)
{
	switch (byte) {
		case 0x02: // Start of data frame
			frame->data_len = 0;
			return STATE_PAYLOAD;

		case 0x06: // 1 byte ack
			frame->data_len = 0;
			return STATE_NEXT;

		default:
			return STATE_IDLE;
	}
}

static enum state_t insert_payload(unsigned char byte, struct frame_t *frame)
{
	switch (byte) {
		case 0x03: // End of data frame
			return STATE_NEXT;

		default:
			if (frame->data_len < MAX_FRAME_LEN) {
				frame->data[frame->data_len] = byte;
				frame->data_len++;
				return STATE_PAYLOAD;
			} else {
				// Discard too long frame
				frame->data_len = 0;
				too_long_frames_cnt++;
				return STATE_IDLE;
			}
	}
}

static void finish_frame(struct frame_t *frame)
{
	bool success = false;

	if (!frame->data_len) {
		// Ack or empty frame
		success = true;
	} else {
		unsigned char cs = 0;
		for (size_t i = 0; i < frame->data_len - 1; i++) {
			cs += frame->data[i];
		}

		if (cs == frame->data[frame->data_len - 1]) {
			frame->data_len--; // Remove check sum from the frame
			success = true;

			uart_tx_ack();
		} else {
			// Discard frame
			frame->data_len = 0;
		}
	}

	if (success) {
		w_idx = incr_idx(w_idx);
		k_sem_give(&rx_sem);
	}

	state = STATE_IDLE;
}

static void byte_received(unsigned char byte)
{
	if (queue_is_full()) return;
	struct frame_t *frame = frames + w_idx;

	switch (state) {
		case STATE_IDLE:
			state = search_for_start(byte, frame);
			break;

		case STATE_PAYLOAD:
			state = insert_payload(byte, frame);
			break;

		case STATE_NEXT:
			invalid_state_cnt++;
			state = STATE_IDLE;
			break;
	}

	if (state == STATE_NEXT) {
		finish_frame(frame);
	}
}

void rx_thread(void *, void *, void *)
{
	while (1) {
		int ret;
		unsigned char byte;

		ret = uart_poll_in(uart_dev, &byte);

		if (!ret) {
			byte_received(byte);
		} else if (ret == -1) {
			k_sleep(K_MSEC(4));
		} else {
			rx_err_cnt++;
		}
	}
}

#define RX_STACK_SIZE 512
#define RX_PRIORITY 1

K_THREAD_DEFINE(rx_tid, RX_STACK_SIZE,
                rx_thread, NULL, NULL, NULL,
                RX_PRIORITY, K_ESSENTIAL, K_TICKS_FOREVER);

void duart_init(void)
{
	int ret;

	uart_dev = DEVICE_DT_GET(DT_CHOSEN(hubertmis_accnt_uart));

	if (!uart_dev) return;
	if (!device_is_ready(uart_dev)) return;

	const struct uart_config cfg = {
		.baudrate  = 2400,
		.parity    = UART_CFG_PARITY_EVEN,
		.stop_bits = UART_CFG_STOP_BITS_2,
		.data_bits = UART_CFG_DATA_BITS_8,
		.flow_ctrl = UART_CFG_FLOW_CTRL_NONE,
	};
	ret = uart_configure(uart_dev, &cfg);

	k_thread_start(rx_tid);
}

int duart_rx(unsigned char payload[MAX_FRAME_LEN])
{
	int ret;

	// A loop to skip received acks
	do {
		ret = rx(payload);
	} while (ret == 0);

	return ret;
}

int duart_tx(const char *payload, size_t payload_len)
{
	unsigned char dummy_payload[MAX_FRAME_LEN];

	int ret = uart_tx_frame(payload, payload_len);
	if (ret < 0) return ret;

	// RX ack
	ret = rx(dummy_payload);
	ret = ret > 0 ? -EIO : ret; // Received data frame instead of ack
	
	return ret;
}
```

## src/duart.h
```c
/*
 * Copyright (c) 2022 Hubert Miś
 *
 * SPDX-License-Identifier: Apache-2.0
 */

/**
 * @file
 * @brief Daikin S21 UART driver access
 */
    
#ifndef DUART_H_
#define DUART_H_

#include <stddef.h>

#ifdef __cplusplus
extern "C" {
#endif

#define DUART_MAX_FRAME_LEN 8

void duart_init(void);
int duart_rx(unsigned char payload[DUART_MAX_FRAME_LEN]);
int duart_tx(const char *payload, size_t payload_len);

#ifdef __cplusplus
}   
#endif

#endif // DUART_H_
```

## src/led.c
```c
/*
 * Copyright (c) 2022 Hubert Miś
 *
 * SPDX-License-Identifier: Apache-2.0
 */

#include "led.h"

#include <drivers/gpio.h>

#define SUCC_NODE_ID      DT_NODELABEL(led0)
#define SUCC_GPIO_NODE_ID DT_GPIO_CTLR(SUCC_NODE_ID, gpios)
#define SUCC_GPIO_PIN     DT_GPIO_PIN(SUCC_NODE_ID, gpios)
#define SUCC_GPIO_FLAGS   DT_GPIO_FLAGS(SUCC_NODE_ID, gpios)

#define FAIL_NODE_ID      DT_NODELABEL(led1)
#define FAIL_GPIO_NODE_ID DT_GPIO_CTLR(FAIL_NODE_ID, gpios)
#define FAIL_GPIO_PIN     DT_GPIO_PIN(FAIL_NODE_ID, gpios)
#define FAIL_GPIO_FLAGS   DT_GPIO_FLAGS(FAIL_NODE_ID, gpios)

#define LED_STACK_SIZE 512

K_SEM_DEFINE(led_sem, 0, 1);
static volatile bool success;
static volatile bool failure;

void led_proc(void *, void *, void *)
{
	const struct device *succ_led_gpio = DEVICE_DT_GET(SUCC_GPIO_NODE_ID);
	const struct device *fail_led_gpio = DEVICE_DT_GET(FAIL_GPIO_NODE_ID);

	if (!succ_led_gpio || !fail_led_gpio) return;
	if (gpio_pin_configure(succ_led_gpio, SUCC_GPIO_PIN, GPIO_OUTPUT_ACTIVE | SUCC_GPIO_FLAGS) < 0) return;
	if (gpio_pin_configure(fail_led_gpio, FAIL_GPIO_PIN, GPIO_OUTPUT_ACTIVE | FAIL_GPIO_FLAGS) < 0) return;

	for (unsigned int i = 0; i < 2; ++i) {
		gpio_pin_set(succ_led_gpio, SUCC_GPIO_PIN, 1);
		k_sleep(K_MSEC(100));
		gpio_pin_set(succ_led_gpio, SUCC_GPIO_PIN, 0);
		gpio_pin_set(fail_led_gpio, FAIL_GPIO_PIN, 1);
		k_sleep(K_MSEC(100));
		gpio_pin_set(fail_led_gpio, FAIL_GPIO_PIN, 0);
	}
	gpio_pin_set(succ_led_gpio, SUCC_GPIO_PIN, 0);
	gpio_pin_set(fail_led_gpio, FAIL_GPIO_PIN, 0);

	while (1)
	{
		k_sem_take(&led_sem, K_FOREVER);

		if (success) {
			success = false;
			gpio_pin_set(succ_led_gpio, SUCC_GPIO_PIN, 1);
			k_sleep(K_MSEC(100));
			gpio_pin_set(succ_led_gpio, SUCC_GPIO_PIN, 0);
		}
		if (failure) {
			failure = false;
			gpio_pin_set(fail_led_gpio, FAIL_GPIO_PIN, 1);
			k_sleep(K_MSEC(100));
			gpio_pin_set(fail_led_gpio, FAIL_GPIO_PIN, 0);
		}
	}
}

#define LED_STACK_SIZE 512
#define LED_PRIORITY 5

K_THREAD_DEFINE(led_tid, LED_STACK_SIZE,
                led_proc, NULL, NULL, NULL,
                LED_PRIORITY, 0, 0);


int led_success(void)
{
	success = true;
	k_sem_give(&led_sem);

	return 0;
}

int led_failure(void)
{
	failure = true;
	k_sem_give(&led_sem);

	return 0;
}
```

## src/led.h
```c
/*
 * Copyright (c) 2022 Hubert Miś
 *
 * SPDX-License-Identifier: Apache-2.0
 */

/**
 * @file
 * @brief LED connection status display
 */
    
#ifndef LED_H_
#define LED_H_

#ifdef __cplusplus
extern "C" {
#endif

int led_success(void);
int led_failure(void);

#ifdef __cplusplus
}   
#endif

#endif // LED_H_
```

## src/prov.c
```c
/*
 * Copyright (c) 2022 Hubert Miś
 *
 * SPDX-License-Identifier: Apache-2.0
 */

#include "prov.h"

#include <errno.h>
#include <string.h>
#include <settings/settings.h>

#include <coap_sd.h>
#include <continuous_sd.h>

#define SETT_NAME "prov"
#define RSRC_NAME "r"
#define RSRC_TYPE "accnt"

static const char rsrc_type[] = RSRC_TYPE;
static char rsrc_label[PROV_LBL_MAX_LEN];

void prov_init(void)
{
    rsrc_label[0] = '\0';
}

int prov_set_rsrc_label(const char *new_label)
{
    if (strlen(new_label) >= PROV_LBL_MAX_LEN) {
        return -2;
    }

    strncpy(rsrc_label, new_label, PROV_LBL_MAX_LEN);
    return 0;
}

const char *prov_get_rsrc_label(void)
{
    return rsrc_label;
}

static int prov_read_label_from_nvm(size_t len, settings_read_cb read_cb, void *cb_arg, char *buffer)
{
	int rc;

	if (len >= PROV_LBL_MAX_LEN) {
		return -EINVAL;
	}

	rc = read_cb(cb_arg, buffer, PROV_LBL_MAX_LEN);

	if (rc < 0) {
		return rc;
	}

	buffer[rc] = '\0';

	if (strlen(buffer)) coap_sd_server_register_rsrc(buffer, rsrc_type);

	return 0;
}

static int prov_set_from_nvm(const char *name, size_t len,
                             settings_read_cb read_cb, void *cb_arg)
{
    const char *next;

    if (settings_name_steq(name, RSRC_NAME, &next) && !next) {
		return prov_read_label_from_nvm(len, read_cb, cb_arg, rsrc_label);
    }

    return -ENOENT;
}

static struct settings_handler sett_conf = {
    .name = SETT_NAME,
    .h_set = prov_set_from_nvm,
};

void prov_store(void)
{
    settings_save_one(SETT_NAME "/" RSRC_NAME, rsrc_label, strlen(rsrc_label));

    coap_sd_server_clear_all_rsrcs();
    if (strlen(rsrc_label)) coap_sd_server_register_rsrc(rsrc_label, rsrc_type);
}

struct settings_handler *prov_get_settings_handler(void)
{
    return &sett_conf;
}
```

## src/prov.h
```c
/*
 * Copyright (c) 2022 Hubert Miś
 *
 * SPDX-License-Identifier: Apache-2.0
 */

/**
 * @file
 * @brief Provisioning settings
 */
    
#ifndef PROV_H_
#define PROV_H_

#include <settings/settings.h>

#ifdef __cplusplus
extern "C" {
#endif

#define PROV_LBL_MAX_LEN 6

void prov_init(void);
int prov_set_rsrc_label(const char *rsrc_label);
const char *prov_get_rsrc_label(void);
void prov_store(void);
struct settings_handler *prov_get_settings_handler(void);

#ifdef __cplusplus
}   
#endif

#endif // PROV_H_
```
